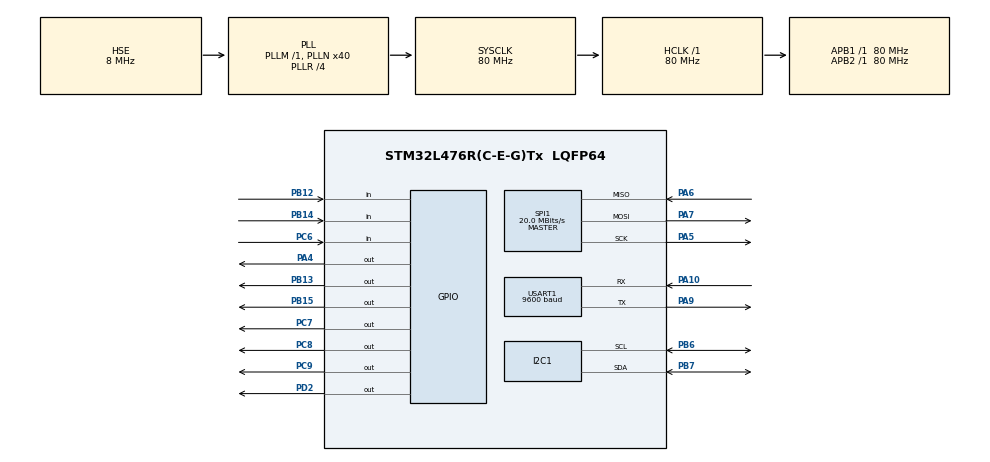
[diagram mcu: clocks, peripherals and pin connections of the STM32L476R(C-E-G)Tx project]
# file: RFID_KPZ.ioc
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I2C1.Speed=50
I2C1.Timing=0x30408CFF
Mcu.Family=STM32L4
Mcu.Name=STM32L476R(C-E-G)Tx
Mcu.Package=LQFP64
NVIC.PriorityGroup=NVIC_PRIORITYGROUP_4
NVIC.TIM2_IRQn=true\:0\:0\:false\:false\:true\:true\:true
NVIC.USART1_IRQn=true\:0\:0\:false\:false\:true\:true\:true
PA10.Mode=Asynchronous
PA10.Signal=USART1_RX
PA13\ (JTMS-SWDIO).Mode=Serial_Wire
PA13\ (JTMS-SWDIO).Signal=SYS_JTMS-SWDIO
PA14\ (JTCK-SWCLK).Mode=Serial_Wire
PA14\ (JTCK-SWCLK).Signal=SYS_JTCK-SWCLK
PA4.Signal=GPIO_Output
PA5.Mode=Full_Duplex_Master
PA5.Signal=SPI1_SCK
PA6.Mode=Full_Duplex_Master
PA6.Signal=SPI1_MISO
PA7.Mode=Full_Duplex_Master
PA7.Signal=SPI1_MOSI
PA9.Mode=Asynchronous
PA9.Signal=USART1_TX
PB12.GPIO_PuPd=GPIO_PULLUP
PB12.Signal=GPIO_Input
PB13.GPIO_Speed=GPIO_SPEED_FREQ_MEDIUM
PB13.Signal=GPIO_Output
PB14.GPIO_PuPd=GPIO_PULLUP
PB14.Signal=GPIO_Input
PB15.GPIO_Speed=GPIO_SPEED_FREQ_MEDIUM
PB15.Signal=GPIO_Output
PB6.Mode=I2C
PB6.Signal=I2C1_SCL
PB7.Mode=I2C
PB7.Signal=I2C1_SDA
PC6.GPIO_PuPd=GPIO_PULLUP
PC6.Signal=GPIO_Input
PC7.GPIO_Speed=GPIO_SPEED_FREQ_MEDIUM
PC7.Signal=GPIO_Output
PC8.GPIO_Speed=GPIO_SPEED_FREQ_MEDIUM
PC8.Signal=GPIO_Output
PC9.Signal=GPIO_Output
PD2.Signal=GPIO_Output
PH0-OSC_IN\ (PH0).Mode=HSE-External-Oscillator
PH0-OSC_IN\ (PH0).Signal=RCC_OSC_IN
PH1-OSC_OUT\ (PH1).Mode=HSE-External-Oscillator
PH1-OSC_OUT\ (PH1).Signal=RCC_OSC_OUT
ProjectManager.HeapSize=0x200
ProjectManager.StackSize=0x400
ProjectManager.TargetToolchain=STM32CubeIDE
RCC.ADCFreq_Value=32000000
RCC.AHBFreq_Value=80000000
RCC.APB1Freq_Value=80000000
RCC.APB1TimFreq_Value=80000000
RCC.APB2Freq_Value=80000000
RCC.APB2TimFreq_Value=80000000
RCC.CortexFreq_Value=80000000
RCC.HCLKFreq_Value=80000000
RCC.HSE_VALUE=8000000
RCC.HSI_VALUE=16000000
RCC.LSE_VALUE=32768
RCC.MSI_VALUE=4000000
RCC.PLLN=40
RCC.PLLR=RCC_PLLR_DIV4
RCC.PLLSourceVirtual=RCC_PLLSOURCE_HSE
RCC.SYSCLKFreq_VALUE=80000000
RCC.SYSCLKSource=RCC_SYSCLKSOURCE_PLLCLK
RCC.USBFreq_Value=32000000
RCC.VCOOutputFreq_Value=320000000
SPI1.BaudRatePrescaler=SPI_BAUDRATEPRESCALER_4
SPI1.CalculateBaudRate=20.0 MBits/s
SPI1.DataSize=SPI_DATASIZE_8BIT
SPI1.Direction=SPI_DIRECTION_2LINES
SPI1.Mode=SPI_MODE_MASTER
SPI1.VirtualType=VM_MASTER
TIM2.CounterMode=TIM_COUNTERMODE_UP
TIM2.Period=20000
TIM2.Prescaler=8000
USART1.BaudRate=9600
USART1.VirtualMode-Asynchronous=VM_ASYNC
VP_TIM2_VS_ClockSourceINT.Mode=Internal
board=custom

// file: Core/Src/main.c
/* USER CODE BEGIN Header */
/**
  ******************************************************************************
  * @file           : main.c
  * @brief          : Main program body
  ******************************************************************************
  * @attention
  *
  * <h2><center>&copy; Copyright (c) 2023 STMicroelectronics.
  * All rights reserved.</center></h2>
  *
  * This software component is licensed by ST under BSD 3-Clause license,
  * the "License"; You may not use this file except in compliance with the
  * License. You may obtain a copy of the License at:
  *                        opensource.org/licenses/BSD-3-Clause
  *
  ******************************************************************************
  */
/* USER CODE END Header */
#include "main.h"

/* USER CODE BEGIN Includes */
#include "app.h"
/* USER CODE END Includes */

I2C_HandleTypeDef hi2c1;

SPI_HandleTypeDef hspi1;

TIM_HandleTypeDef htim2;

UART_HandleTypeDef huart1;

void SystemClock_Config(void);
static void MX_GPIO_Init(void);
static void MX_I2C1_Init(void);
static void MX_USART1_UART_Init(void);
static void MX_TIM2_Init(void);
static void MX_SPI1_Init(void);

/* USER CODE BEGIN 0 */
TIM_HandleTypeDef tim2;
UART_HandleTypeDef uart1;
SPI_HandleTypeDef spi1;
/* USER CODE END 0 */

int main(void)
{

  /* MCU Configuration--------------------------------------------------------*/

  /* Reset of all peripherals, Initializes the Flash interface and the Systick. */
  HAL_Init();

  /* Configure the system clock */
  SystemClock_Config();

  /* Initialize all configured peripherals */
  HAL_Delay(200);

  MX_GPIO_Init();
  MX_I2C1_Init();
  MX_USART1_UART_Init();
  MX_TIM2_Init();
  MX_SPI1_Init();
  /* USER CODE BEGIN 2 */

  HAL_Delay(100);

  lcd_init(&hi2c1);
  HAL_Delay(30);
  lcd_clear(&hi2c1);
  keypad_init();
  tim2 = htim2;
  TIM2->CR1 = 0;
  HAL_TIM_Base_Start_IT(&tim2);

  spi1 = hspi1;
  flash_init();
  flash_download_tag_data();

  HAL_UART_Init(&huart1);
  uart1 = huart1;
  HAL_UART_Receive_IT (&huart1, RFID_buffer, 14);

    // czyszczenie strony
    /*HAL_GPIO_WritePin(GPIOA, GPIO_PIN_4, GPIO_PIN_RESET);
     uint8_t data = 0x06;
      HAL_SPI_Transmit(&hspi1, &data, 1, 500);
      HAL_GPIO_WritePin(GPIOA, GPIO_PIN_4, GPIO_PIN_SET);
      HAL_Delay(300);

    HAL_GPIO_WritePin(GPIOA, GPIO_PIN_4, GPIO_PIN_RESET);
    data = 0x20;
    HAL_SPI_Transmit(&hspi1, &data, 1, 500);
    data = 0x01;
    HAL_SPI_Transmit(&hspi1, &data, 1, 500);
    data = 0x01;
    HAL_SPI_Transmit(&hspi1, &data, 1, 500);
    data = 0x11;
    HAL_SPI_Transmit(&hspi1, &data, 1, 500);
    HAL_GPIO_WritePin(GPIOA, GPIO_PIN_4, GPIO_PIN_SET);
          HAL_Delay(300);

  uint8_t tab[6] = {'5','7','5','B','D','C'};
  uint8_t taba[6];
  flash_write_byte(1, TAG_COUNT_ADDRES);
  flash_write_byte_array(tab, 6, TAG_FIRST_ADDRES);

  flash_download_tag_data();
  lcd_send_text(flash_tag_buffor[0], &hi2c1);*/

  /*flash_erase_block(MAIN_SECTION_ADDRES);
  flash_correct_password_buffor[0] = '1';
  flash_correct_password_buffor[1] = '3';
  flash_correct_password_buffor[2] = '3';
  flash_correct_password_buffor[3] = '7';
  flash_update_memory_content();*/

  /* USER CODE END 2 */

  /* Infinite loop */
  /* USER CODE BEGIN WHILE */
  while (1)
  {
	app_main_loop(&hi2c1);
	HAL_Delay(100);
	HAL_GPIO_TogglePin(GPIOD, GPIO_PIN_2);

    /* USER CODE END WHILE */

  }
}

void SystemClock_Config(void)
{
  RCC_OscInitTypeDef RCC_OscInitStruct = {0};
  RCC_ClkInitTypeDef RCC_ClkInitStruct = {0};
  RCC_PeriphCLKInitTypeDef PeriphClkInit = {0};

  /** Initializes the RCC Oscillators according to the specified parameters
  * in the RCC_OscInitTypeDef structure.
  */
  RCC_OscInitStruct.OscillatorType = RCC_OSCILLATORTYPE_HSE;
  RCC_OscInitStruct.HSEState = RCC_HSE_ON;
  RCC_OscInitStruct.PLL.PLLState = RCC_PLL_ON;
  RCC_OscInitStruct.PLL.PLLSource = RCC_PLLSOURCE_HSE;
  RCC_OscInitStruct.PLL.PLLM = 1;
  RCC_OscInitStruct.PLL.PLLN = 40;
  RCC_OscInitStruct.PLL.PLLP = RCC_PLLP_DIV7;
  RCC_OscInitStruct.PLL.PLLQ = RCC_PLLQ_DIV2;
  RCC_OscInitStruct.PLL.PLLR = RCC_PLLR_DIV4;
  if (HAL_RCC_OscConfig(&RCC_OscInitStruct) != HAL_OK)
  {
    Error_Handler();
  }
  /** Initializes the CPU, AHB and APB buses clocks
  */
  RCC_ClkInitStruct.ClockType = RCC_CLOCKTYPE_HCLK|RCC_CLOCKTYPE_SYSCLK
                              |RCC_CLOCKTYPE_PCLK1|RCC_CLOCKTYPE_PCLK2;
  RCC_ClkInitStruct.SYSCLKSource = RCC_SYSCLKSOURCE_PLLCLK;
  RCC_ClkInitStruct.AHBCLKDivider = RCC_SYSCLK_DIV1;
  RCC_ClkInitStruct.APB1CLKDivider = RCC_HCLK_DIV1;
  RCC_ClkInitStruct.APB2CLKDivider = RCC_HCLK_DIV1;

  if (HAL_RCC_ClockConfig(&RCC_ClkInitStruct, FLASH_LATENCY_4) != HAL_OK)
  {
    Error_Handler();
  }
  PeriphClkInit.PeriphClockSelection = RCC_PERIPHCLK_USART1|RCC_PERIPHCLK_I2C1;
  PeriphClkInit.Usart1ClockSelection = RCC_USART1CLKSOURCE_PCLK2;
  PeriphClkInit.I2c1ClockSelection = RCC_I2C1CLKSOURCE_PCLK1;
  if (HAL_RCCEx_PeriphCLKConfig(&PeriphClkInit) != HAL_OK)
  {
    Error_Handler();
  }
  /** Configure the main internal regulator output voltage
  */
  if (HAL_PWREx_ControlVoltageScaling(PWR_REGULATOR_VOLTAGE_SCALE1) != HAL_OK)
  {
    Error_Handler();
  }
}

static void MX_I2C1_Init(void)
{

  hi2c1.Instance = I2C1;
  hi2c1.Init.Timing = 0x30408CFF;
  hi2c1.Init.OwnAddress1 = 0;
  hi2c1.Init.AddressingMode = I2C_ADDRESSINGMODE_7BIT;
  hi2c1.Init.DualAddressMode = I2C_DUALADDRESS_DISABLE;
  hi2c1.Init.OwnAddress2 = 0;
  hi2c1.Init.OwnAddress2Masks = I2C_OA2_NOMASK;
  hi2c1.Init.GeneralCallMode = I2C_GENERALCALL_DISABLE;
  hi2c1.Init.NoStretchMode = I2C_NOSTRETCH_DISABLE;
  if (HAL_I2C_Init(&hi2c1) != HAL_OK)
  {
    Error_Handler();
  }
  /** Configure Analogue filter
  */
  if (HAL_I2CEx_ConfigAnalogFilter(&hi2c1, I2C_ANALOGFILTER_ENABLE) != HAL_OK)
  {
    Error_Handler();
  }
  /** Configure Digital filter
  */
  if (HAL_I2CEx_ConfigDigitalFilter(&hi2c1, 0) != HAL_OK)
  {
    Error_Handler();
  }

}

static void MX_SPI1_Init(void)
{

  /* SPI1 parameter configuration*/
  hspi1.Instance = SPI1;
  hspi1.Init.Mode = SPI_MODE_MASTER;
  hspi1.Init.Direction = SPI_DIRECTION_2LINES;
  hspi1.Init.DataSize = SPI_DATASIZE_8BIT;
  hspi1.Init.CLKPolarity = SPI_POLARITY_LOW;
  hspi1.Init.CLKPhase = SPI_PHASE_1EDGE;
  hspi1.Init.NSS = SPI_NSS_SOFT;
  hspi1.Init.BaudRatePrescaler = SPI_BAUDRATEPRESCALER_4;
  hspi1.Init.FirstBit = SPI_FIRSTBIT_MSB;
  hspi1.Init.TIMode = SPI_TIMODE_DISABLE;
  hspi1.Init.CRCCalculation = SPI_CRCCALCULATION_DISABLE;
  hspi1.Init.CRCPolynomial = 7;
  hspi1.Init.CRCLength = SPI_CRC_LENGTH_DATASIZE;
  hspi1.Init.NSSPMode = SPI_NSS_PULSE_ENABLE;
  if (HAL_SPI_Init(&hspi1) != HAL_OK)
  {
    Error_Handler();
  }

}

static void MX_TIM2_Init(void)
{

  TIM_ClockConfigTypeDef sClockSourceConfig = {0};
  TIM_MasterConfigTypeDef sMasterConfig = {0};

  htim2.Instance = TIM2;
  htim2.Init.Prescaler = 8000;
  htim2.Init.CounterMode = TIM_COUNTERMODE_UP;
  htim2.Init.Period = 20000;
  htim2.Init.ClockDivision = TIM_CLOCKDIVISION_DIV1;
  htim2.Init.AutoReloadPreload = TIM_AUTORELOAD_PRELOAD_DISABLE;
  if (HAL_TIM_Base_Init(&htim2) != HAL_OK)
  {
    Error_Handler();
  }
  sClockSourceConfig.ClockSource = TIM_CLOCKSOURCE_INTERNAL;
  if (HAL_TIM_ConfigClockSource(&htim2, &sClockSourceConfig) != HAL_OK)
  {
    Error_Handler();
  }
  sMasterConfig.MasterOutputTrigger = TIM_TRGO_RESET;
  sMasterConfig.MasterSlaveMode = TIM_MASTERSLAVEMODE_DISABLE;
  if (HAL_TIMEx_MasterConfigSynchronization(&htim2, &sMasterConfig) != HAL_OK)
  {
    Error_Handler();
  }

}

static void MX_USART1_UART_Init(void)
{

  huart1.Instance = USART1;
  huart1.Init.BaudRate = 9600;
  huart1.Init.WordLength = UART_WORDLENGTH_8B;
  huart1.Init.StopBits = UART_STOPBITS_1;
  huart1.Init.Parity = UART_PARITY_NONE;
  huart1.Init.Mode = UART_MODE_TX_RX;
  huart1.Init.HwFlowCtl = UART_HWCONTROL_NONE;
  huart1.Init.OverSampling = UART_OVERSAMPLING_16;
  huart1.Init.OneBitSampling = UART_ONE_BIT_SAMPLE_DISABLE;
  huart1.AdvancedInit.AdvFeatureInit = UART_ADVFEATURE_NO_INIT;
  if (HAL_UART_Init(&huart1) != HAL_OK)
  {
    Error_Handler();
  }

}

static void MX_GPIO_Init(void)
{
  GPIO_InitTypeDef GPIO_InitStruct = {0};

  /* GPIO Ports Clock Enable */
  __HAL_RCC_GPIOH_CLK_ENABLE();
  __HAL_RCC_GPIOA_CLK_ENABLE();
  __HAL_RCC_GPIOB_CLK_ENABLE();
  __HAL_RCC_GPIOC_CLK_ENABLE();
  __HAL_RCC_GPIOD_CLK_ENABLE();

  /*Configure GPIO pin Output Level */
  HAL_GPIO_WritePin(GPIOA, GPIO_PIN_4, GPIO_PIN_RESET);

  /*Configure GPIO pin Output Level */
  HAL_GPIO_WritePin(GPIOB, GPIO_PIN_13|GPIO_PIN_15, GPIO_PIN_RESET);

  /*Configure GPIO pin Output Level */
  HAL_GPIO_WritePin(GPIOC, GPIO_PIN_7|GPIO_PIN_8|GPIO_PIN_9, GPIO_PIN_RESET);

  /*Configure GPIO pin Output Level */
  HAL_GPIO_WritePin(GPIOD, GPIO_PIN_2, GPIO_PIN_RESET);

  /*Configure GPIO pin : PA4 */
  GPIO_InitStruct.Pin = GPIO_PIN_4;
  GPIO_InitStruct.Mode = GPIO_MODE_OUTPUT_PP;
  GPIO_InitStruct.Pull = GPIO_NOPULL;
  GPIO_InitStruct.Speed = GPIO_SPEED_FREQ_LOW;
  HAL_GPIO_Init(GPIOA, &GPIO_InitStruct);

  /*Configure GPIO pins : PB12 PB14 */
  GPIO_InitStruct.Pin = GPIO_PIN_12|GPIO_PIN_14;
  GPIO_InitStruct.Mode = GPIO_MODE_INPUT;
  GPIO_InitStruct.Pull = GPIO_PULLUP;
  HAL_GPIO_Init(GPIOB, &GPIO_InitStruct);

  /*Configure GPIO pins : PB13 PB15 */
  GPIO_InitStruct.Pin = GPIO_PIN_13|GPIO_PIN_15;
  GPIO_InitStruct.Mode = GPIO_MODE_OUTPUT_PP;
  GPIO_InitStruct.Pull = GPIO_NOPULL;
  GPIO_InitStruct.Speed = GPIO_SPEED_FREQ_MEDIUM;
  HAL_GPIO_Init(GPIOB, &GPIO_InitStruct);

  /*Configure GPIO pin : PC6 */
  GPIO_InitStruct.Pin = GPIO_PIN_6;
  GPIO_InitStruct.Mode = GPIO_MODE_INPUT;
  GPIO_InitStruct.Pull = GPIO_PULLUP;
  HAL_GPIO_Init(GPIOC, &GPIO_InitStruct);

  /*Configure GPIO pins : PC7 PC8 */
  GPIO_InitStruct.Pin = GPIO_PIN_7|GPIO_PIN_8;
  GPIO_InitStruct.Mode = GPIO_MODE_OUTPUT_PP;
  GPIO_InitStruct.Pull = GPIO_NOPULL;
  GPIO_InitStruct.Speed = GPIO_SPEED_FREQ_MEDIUM;
  HAL_GPIO_Init(GPIOC, &GPIO_InitStruct);

  /*Configure GPIO pin : PC9 */
  GPIO_InitStruct.Pin = GPIO_PIN_9;
  GPIO_InitStruct.Mode = GPIO_MODE_OUTPUT_PP;
  GPIO_InitStruct.Pull = GPIO_NOPULL;
  GPIO_InitStruct.Speed = GPIO_SPEED_FREQ_LOW;
  HAL_GPIO_Init(GPIOC, &GPIO_InitStruct);

  /*Configure GPIO pin : PD2 */
  GPIO_InitStruct.Pin = GPIO_PIN_2;
  GPIO_InitStruct.Mode = GPIO_MODE_OUTPUT_PP;
  GPIO_InitStruct.Pull = GPIO_NOPULL;
  GPIO_InitStruct.Speed = GPIO_SPEED_FREQ_LOW;
  HAL_GPIO_Init(GPIOD, &GPIO_InitStruct);

}

void Error_Handler(void)
{
}

/************************ (C) COPYRIGHT STMicroelectronics *****END OF FILE****/
